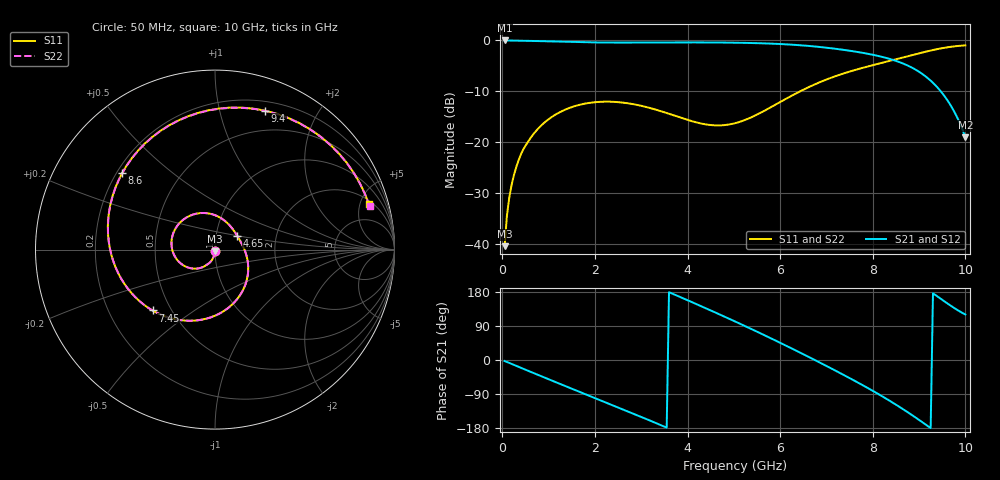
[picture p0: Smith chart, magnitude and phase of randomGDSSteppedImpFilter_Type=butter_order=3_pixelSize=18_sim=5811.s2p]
! freq	dB(S11)	phase(S11)	dB(S12)	phase(S12)
!  dB(S21)	phase(S21)	dB(S22)	phase(S22)
!S-par simulation data
#  GHz  S  DB  R 50
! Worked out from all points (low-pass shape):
!   200 points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, 50 MHz to 10 GHz, reference 50 ohm
!   highest |S21| = 0.00 dB at 50 MHz (marker M1); lowest = -19.1 dB at 10 GHz (marker M2)
!   |S21| within 3 dB of the highest: start of sweep to 8.093 GHz
!   lowest |S11| = -40.5 dB at 50 MHz (marker M3), VSWR 1.02, Z = 50 - j0.944 ohm
!   |S11| at or under -10 dB: start of sweep to 6.434 GHz
!   |S22| runs from -40.5 to -1.0 dB; largest |S21 - S12| = 0
!   S11 on the Smith chart (normalised r, x): 50 MHz: 1.00, -0.02; 4.65 GHz: 1.26, +0.20; 7.45 GHz: 0.40, -0.35; 8.6 GHz: 0.22, +0.34; 9.4 GHz: 0.29, +1.39; 10 GHz: 2.40, +6.04
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0.05  -40.49 -92.3  -0.00 -2.6  -0.00 -2.6  -40.49 -92.3
0.1  -34.47 -95.0  -0.01 -5.2  -0.01 -5.2  -34.47 -95.0
0.2  -28.47 -100.2  -0.02 -10.3  -0.02 -10.3  -28.47 -100.2
0.45  -21.50 -114.2  -0.06 -23.0  -0.06 -23.0  -21.49 -114.3
1.1  -14.87 -146.4  -0.21 -55.8  -0.21 -55.8  -14.87 -146.5
1.75  -12.50 -178.7  -0.35 -87.9  -0.35 -87.9  -12.50 -178.8
2.5  -12.14 144.3  -0.42 -125.0  -0.42 -125.0  -12.14 144.1
3.4  -13.85 98.7  -0.40 -170.7  -0.40 -170.7  -13.85 98.5
4  -15.64 67.2  -0.38 157.8  -0.38 157.8  -15.63 67.1
4.65  -16.73 32.1  -0.41 122.6  -0.41 122.6  -16.72 32.0
5.05  -16.23 9.9  -0.45 100.4  -0.45 100.4  -16.23 10.0
5.8  -13.14 -33.1  -0.62 57.3  -0.62 57.3  -13.14 -32.9
6.25  -10.87 -59.9  -0.83 30.5  -0.83 30.5  -10.87 -59.7
6.7  -8.84 -87.6  -1.15 3.0  -1.15 3.0  -8.84 -87.4
7.45  -6.27 -135.7  -1.96 -44.5  -1.96 -44.5  -6.27 -135.7
7.9  -5.11 -166.5  -2.64 -74.4  -2.64 -74.4  -5.11 -166.6
8.35  -4.05 160.3  -3.59 -106.5  -3.59 -106.5  -4.06 160.1
8.6  -3.47 140.5  -4.35 -125.5  -4.35 -125.5  -3.48 140.2
9.05  -2.42 102.0  -6.47 -162.4  -6.47 -162.4  -2.42 101.5
9.4  -1.69 70.1  -9.28 167.3  -9.28 167.3  -1.69 69.5
9.65  -1.29 47.1  -12.31 146.0  -12.31 146.0  -1.29 46.5
10  -0.97 16.3  -19.08 120.1  -19.08 120.1  -0.97 15.7
